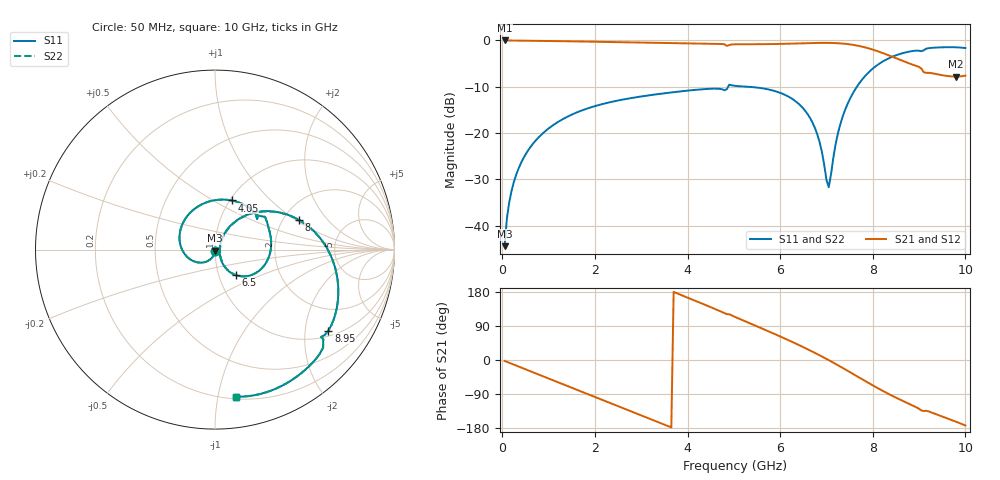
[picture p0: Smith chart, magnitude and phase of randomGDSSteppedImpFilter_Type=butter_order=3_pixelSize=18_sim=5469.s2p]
! freq	dB(S11)	phase(S11)	dB(S12)	phase(S12)
!  dB(S21)	phase(S21)	dB(S22)	phase(S22)
!S-par simulation data
#  GHz  S  DB  R 50
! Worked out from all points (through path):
!   200 points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, 50 MHz to 10 GHz, reference 50 ohm
!   highest |S21| = 0.00 dB at 50 MHz (marker M1); lowest = -7.8 dB at 9.8 GHz (marker M2)
!   group delay of S21, straight-line fit = 150 ps
!   lowest |S11| = -44.4 dB at 50 MHz (marker M3), VSWR 1.01, Z = 50 - j0.602 ohm
!   |S11| at or under -10 dB: start of sweep to 4.876 GHz; 5.313 GHz to 7.657 GHz (2.343 GHz wide, 36.1 % of centre)
!   |S22| runs from -44.4 to -1.5 dB; largest |S21 - S12| = 0
!   S11 on the Smith chart (normalised r, x): 50 MHz: 1.00, -0.01; 4.05 GHz: 1.02, +0.61; 6.5 GHz: 1.21, -0.36; 8 GHz: 2.43, +1.07; 8.95 GHz: 1.17, -2.66; 10 GHz: 0.22, -1.13
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0.05  -44.40 -92.0  -0.00 -2.5  -0.00 -2.5  -44.41 -92.0
0.1  -38.36 -94.2  -0.01 -4.9  -0.01 -4.9  -38.36 -94.3
0.2  -32.47 -99.6  -0.02 -9.8  -0.02 -9.8  -32.48 -99.6
0.5  -24.64 -115.0  -0.05 -24.5  -0.05 -24.5  -24.64 -115.0
1.15  -17.93 -147.0  -0.14 -56.1  -0.14 -56.1  -17.93 -147.0
1.75  -14.99 -176.3  -0.24 -85.1  -0.24 -85.1  -14.99 -176.3
2.5  -12.96 147.3  -0.37 -121.5  -0.37 -121.5  -12.96 147.3
3.4  -11.53 103.3  -0.53 -165.6  -0.53 -165.6  -11.53 103.3
4.05  -10.78 71.2  -0.65 162.1  -0.65 162.1  -10.78 71.3
5.05  -9.83 22.2  -0.83 112.4  -0.83 112.4  -9.83 22.4
5.8  -10.70 -15.8  -0.79 73.0  -0.79 73.0  -10.70 -15.5
6.5  -14.70 -50.8  -0.61 33.9  -0.61 33.9  -14.69 -50.3
6.7  -17.76 -59.1  -0.56 21.9  -0.56 21.9  -17.74 -58.4
6.85  -21.88 -61.1  -0.53 12.6  -0.53 12.6  -21.82 -59.9
7.05  -31.67 5.4  -0.53 -0.4  -0.53 -0.4  -31.06 5.0
7.2  -22.27 58.3  -0.58 -10.5  -0.58 -10.5  -22.18 56.9
7.4  -15.06 55.8  -0.72 -24.4  -0.72 -24.4  -15.04 55.1
8  -6.08 19.5  -1.98 -67.0  -1.98 -67.0  -6.08 19.3
8.35  -3.83 -2.5  -3.23 -90.1  -3.23 -90.1  -3.83 -2.6
8.95  -2.20 -35.6  -5.53 -125.3  -5.53 -125.3  -2.20 -35.6
9.8  -1.48 -72.6  -7.80 -162.8  -7.80 -162.8  -1.48 -72.6
10  -1.64 -81.7  -7.59 -173.0  -7.59 -173.0  -1.64 -81.7
